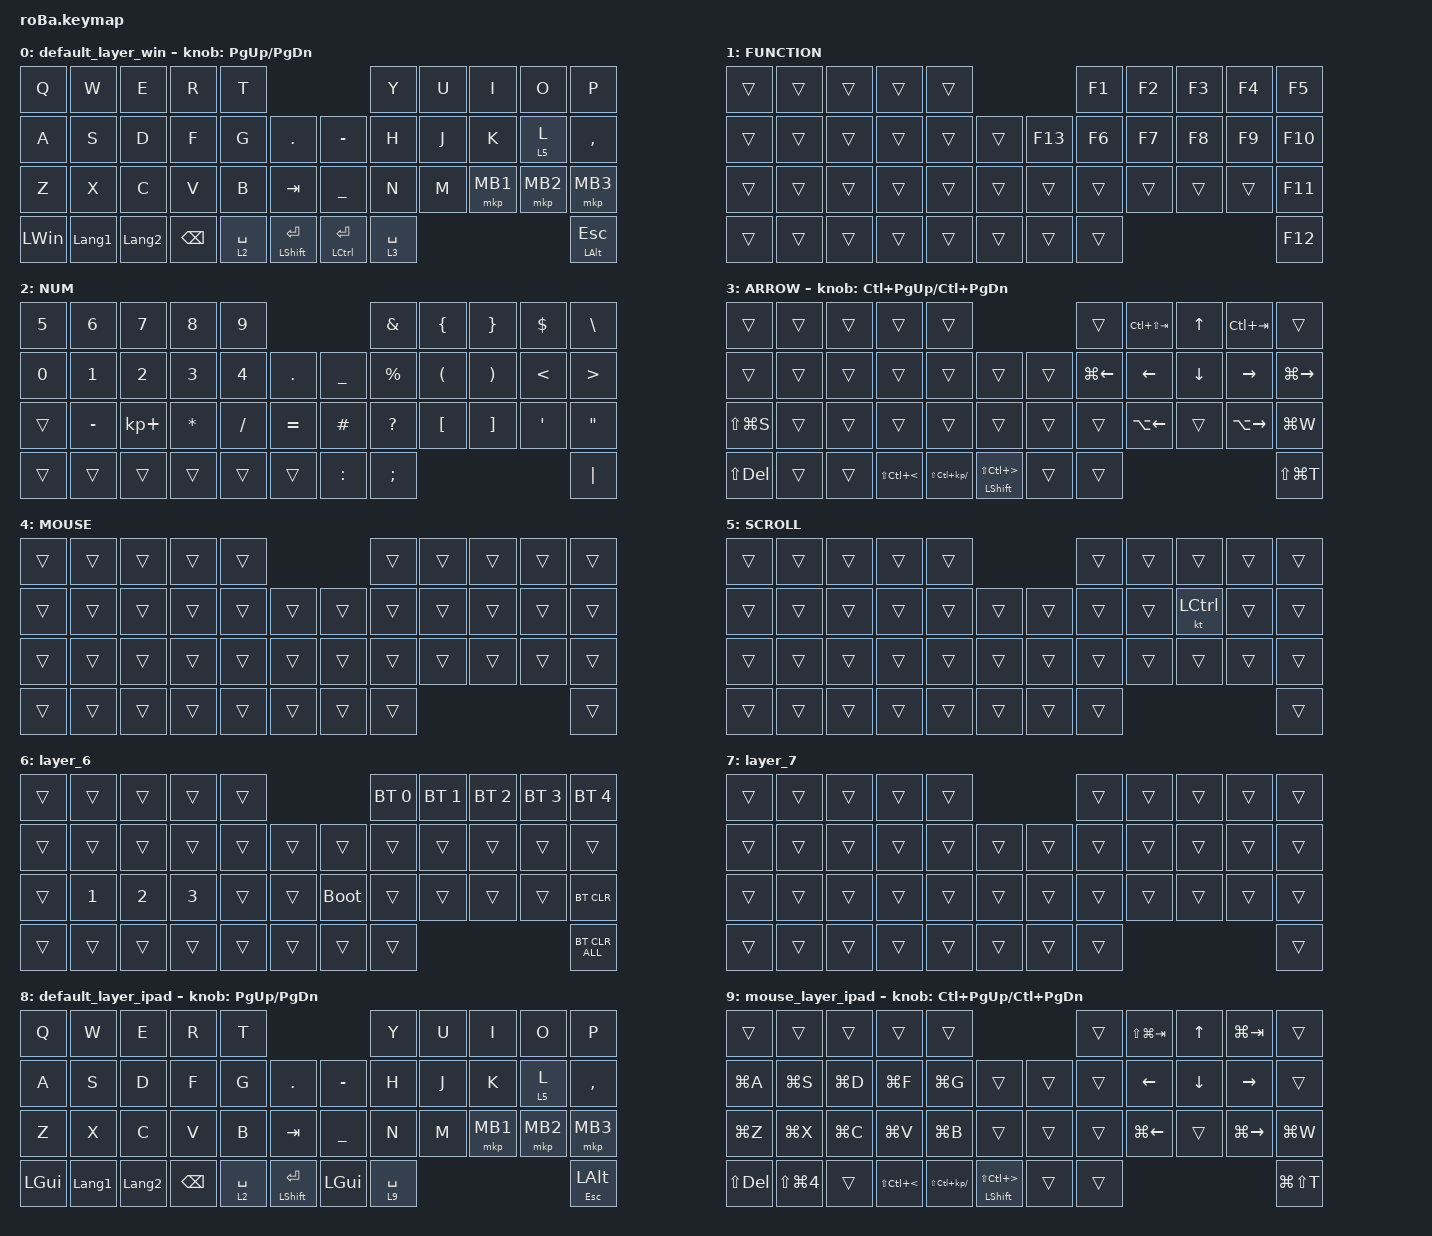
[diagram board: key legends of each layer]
#include <behaviors.dtsi>
#include <dt-bindings/zmk/bt.h>
#include <dt-bindings/zmk/keys.h>
#include <dt-bindings/zmk/pointing.h>

&mt { flavor = "balanced"; };

&lt { require-prior-idle-ms = <200>; };

&trackball {
    automouse-layer = <4>;
    scroll-layers = <5>;
};

/ {
    combos {
        compatible = "zmk,combos";

        connect0 {
            bindings = <&connect_to_layer_0>;
            key-positions = <0 1>;
        };

        connect1 {
            bindings = <&connect_to_layer_1>;
            key-positions = <1 2>;
        };

        connect2 {
            bindings = <&connect_to_layer_2>;
            key-positions = <0 1 2>;
        };

        exclamation {
            bindings = <&kp EXCL>;
            key-positions = <16 17>;
        };

        at_sign {
            bindings = <&kp AT_SIGN>;
            key-positions = <28 29>;
        };
    };

    macros {
        connect_to_layer_0: to_layer_0 {
            compatible = "zmk,behavior-macro";
            #binding-cells = <0>;
            bindings = <&bt BT_SEL 0 &to 0>;
            label = "TO_LAYER_0";
        };

        connect_to_layer_1: connect_to_layer_1 {
            compatible = "zmk,behavior-macro";
            #binding-cells = <0>;
            bindings = <&bt BT_SEL 1 &to 0>;
            label = "CONNECT_TO_LAYER_1";
        };

        connect_to_layer_2: connect_to_layer_2 {
            compatible = "zmk,behavior-macro";
            #binding-cells = <0>;
            bindings = <&bt BT_SEL 2 &to 8>;
            label = "CONNECT_TO_LAYER_2";
        };
    };

    behaviors {
        lt_to_layer_0: lt_to_layer_0 {
            compatible = "zmk,behavior-hold-tap";
            label = "LAYER_TAP_TO_0";
            bindings = <&mo>, <&connect_to_layer_0>;

            #binding-cells = <2>;
            tapping-term-ms = <200>;
        };
    };

    keymap {
        compatible = "zmk,keymap";

        default_layer_win {
            bindings = <
&kp Q         &kp W           &kp E           &kp R          &kp T                                                          &kp Y        &kp U  &kp I     &kp O     &kp P
&kp A         &kp S           &kp D           &kp F          &kp G        &kp DOT                   &kp MINUS               &kp H        &kp J  &kp K     &lt 5 L   &kp COMMA
&kp Z         &kp X           &kp C           &kp V          &kp B        &kp TAB                   &kp UNDER               &kp N        &kp M  &mkp MB1  &mkp MB2  &mkp MB3
&kp LEFT_WIN  &kp LANGUAGE_1  &kp LANGUAGE_2  &kp BACKSPACE  &lt 2 SPACE  &mt LEFT_SHIFT ENTER      &mt LEFT_CONTROL ENTER  &lt 3 SPACE                             &mt LEFT_ALT ESCAPE
            >;

            sensor-bindings = <&inc_dec_kp PG_UP PAGE_DOWN>;
        };

        FUNCTION {
            bindings = <
&trans  &trans  &trans  &trans  &trans                       &kp F1  &kp F2  &kp F3  &kp F4  &kp F5
&trans  &trans  &trans  &trans  &trans  &trans      &kp F13  &kp F6  &kp F7  &kp F8  &kp F9  &kp F10
&trans  &trans  &trans  &trans  &trans  &trans      &trans   &trans  &trans  &trans  &trans  &kp F11
&trans  &trans  &trans  &trans  &trans  &trans      &trans   &trans                          &kp F12
            >;
        };

        NUM {
            bindings = <
&kp NUMBER_5  &kp NUMBER_6  &kp NUMBER_7  &kp NUMBER_8  &kp NUMBER_9                                 &kp AMPERSAND  &kp LEFT_BRACE        &kp RIGHT_BRACE        &kp DOLLAR        &kp BACKSLASH
&kp NUMBER_0  &kp NUMBER_1  &kp NUMBER_2  &kp NUMBER_3  &kp NUMBER_4  &kp DOT        &kp UNDERSCORE  &kp PERCENT    &kp LEFT_PARENTHESIS  &kp RIGHT_PARENTHESIS  &kp LESS_THAN     &kp GREATER_THAN
&trans        &kp MINUS     &kp KP_PLUS   &kp ASTERISK  &kp SLASH     &kp EQUAL      &kp HASH        &kp QUESTION   &kp LEFT_BRACKET      &kp RIGHT_BRACKET      &kp SINGLE_QUOTE  &kp DOUBLE_QUOTES
&trans        &trans        &trans        &trans        &trans        &trans         &kp COLON       &kp SEMICOLON                                                                 &kp PIPE
            >;
        };

        ARROW {
            bindings = <
&trans          &trans  &trans  &trans                 &trans                                                                 &trans              &kp LC(LS(TAB))     &kp UP_ARROW    &kp LC(TAB)          &trans
&trans          &trans  &trans  &trans                 &trans                &trans                                   &trans  &kp LG(LEFT_ARROW)  &kp LEFT_ARROW      &kp DOWN_ARROW  &kp RIGHT            &kp LG(RIGHT_ARROW)
&kp LS(LG(S))   &trans  &trans  &trans                 &trans                &trans                                   &trans  &trans              &kp LA(LEFT_ARROW)  &trans          &kp LA(RIGHT_ARROW)  &kp LG(W)
&kp LS(DELETE)  &trans  &trans  &kp LS(LC(LESS_THAN))  &kp LS(LC(KP_SLASH))  &mt LEFT_SHIFT LS(LC(GREATER_THAN))      &trans  &trans                                                                       &kp LS(LG(T))
            >;

            sensor-bindings = <&inc_dec_kp LC(PAGE_UP) LC(PAGE_DOWN)>;
        };

        MOUSE {
            bindings = <
&trans  &trans  &trans  &trans  &trans                      &trans  &trans  &trans  &trans  &trans
&trans  &trans  &trans  &trans  &trans  &trans      &trans  &trans  &trans  &trans  &trans  &trans
&trans  &trans  &trans  &trans  &trans  &trans      &trans  &trans  &trans  &trans  &trans  &trans
&trans  &trans  &trans  &trans  &trans  &trans      &trans  &trans                          &trans
            >;
        };

        SCROLL {
            bindings = <
&trans  &trans  &trans  &trans  &trans                      &trans  &trans  &trans            &trans  &trans
&trans  &trans  &trans  &trans  &trans  &trans      &trans  &trans  &trans  &kt LEFT_CONTROL  &trans  &trans
&trans  &trans  &trans  &trans  &trans  &trans      &trans  &trans  &trans  &trans            &trans  &trans
&trans  &trans  &trans  &trans  &trans  &trans      &trans  &trans                                    &trans
            >;
        };

        layer_6 {
            bindings = <
&trans  &trans        &trans        &trans        &trans                           &bt BT_SEL 0  &bt BT_SEL 1  &bt BT_SEL 2  &bt BT_SEL 3  &bt BT_SEL 4
&trans  &trans        &trans        &trans        &trans  &trans      &trans       &trans        &trans        &trans        &trans        &trans
&trans  &kp NUMBER_1  &kp NUMBER_2  &kp NUMBER_3  &trans  &trans      &bootloader  &trans        &trans        &trans        &trans        &bt BT_CLR
&trans  &trans        &trans        &trans        &trans  &trans      &trans       &trans                                                  &bt BT_CLR_ALL
            >;
        };

        layer_7 {
            bindings = <
&trans  &trans  &trans  &trans  &trans                      &trans  &trans  &trans  &trans  &trans
&trans  &trans  &trans  &trans  &trans  &trans      &trans  &trans  &trans  &trans  &trans  &trans
&trans  &trans  &trans  &trans  &trans  &trans      &trans  &trans  &trans  &trans  &trans  &trans
&trans  &trans  &trans  &trans  &trans  &trans      &trans  &trans                          &trans
            >;
        };

        default_layer_ipad {
            bindings = <
&kp Q         &kp W           &kp E           &kp R          &kp T                                                &kp Y        &kp U  &kp I     &kp O     &kp P
&kp A         &kp S           &kp D           &kp F          &kp G        &kp DOT                   &kp MINUS     &kp H        &kp J  &kp K     &lt 5 L   &kp COMMA
&kp Z         &kp X           &kp C           &kp V          &kp B        &kp TAB                   &kp UNDER     &kp N        &kp M  &mkp MB1  &mkp MB2  &mkp MB3
&kp LEFT_GUI  &kp LANGUAGE_1  &kp LANGUAGE_2  &kp BACKSPACE  &lt 2 SPACE  &mt LEFT_SHIFT ENTER      &kp LEFT_GUI  &lt 9 SPACE                             &mt ESCAPE LEFT_ALT
            >;

            sensor-bindings = <&inc_dec_kp PG_UP PAGE_DOWN>;
        };

        mouse_layer_ipad {
            bindings = <
&trans          &trans                &trans     &trans                 &trans                                                                 &trans  &kp LS(LG(TAB))     &kp UP_ARROW    &kp LG(TAB)          &trans
&kp LG(A)       &kp LG(S)             &kp LG(D)  &kp LG(F)              &kp LG(G)             &trans                                   &trans  &trans  &kp LEFT_ARROW      &kp DOWN_ARROW  &kp RIGHT            &trans
&kp LG(Z)       &kp LG(X)             &kp LG(C)  &kp LG(V)              &kp LG(B)             &trans                                   &trans  &trans  &kp LG(LEFT_ARROW)  &trans          &kp LG(RIGHT_ARROW)  &kp LG(W)
&kp LS(DELETE)  &kp LS(LG(NUMBER_4))  &trans     &kp LS(LC(LESS_THAN))  &kp LS(LC(KP_SLASH))  &mt LEFT_SHIFT LS(LC(GREATER_THAN))      &trans  &trans                                                           &kp LG(LS(T))
            >;

            sensor-bindings = <&inc_dec_kp LC(PAGE_UP) LC(PAGE_DOWN)>;
        };
    };

    conditional_layers { compatible = "zmk,conditional-layers"; };
};
